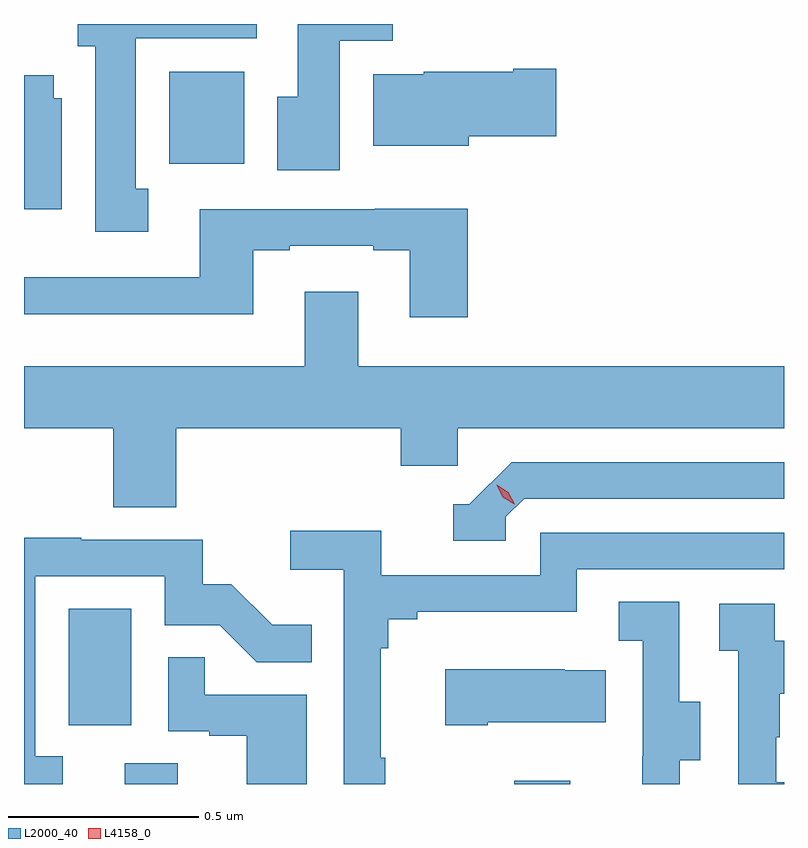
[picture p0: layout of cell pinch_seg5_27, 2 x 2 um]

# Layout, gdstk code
import gdstk
lib = gdstk.Library(unit=1e-6, precision=1e-09)
def R(c, l, rs):  # rectangles x0, y0, x1, y1
    for r in rs: c.add(gdstk.rectangle(r[:2], r[2:], *l))
def P(c, l, *ps):  # polygons
    for p in ps: c.add(gdstk.Polygon(p, *l))
L2000_40 = (2000, 40)
L4158_0 = (4158, 0)

pinch_seg5_27 = lib.new_cell('pinch_seg5_27')
R(pinch_seg5_27, L2000_40, [(1118.291,910.436,1118.431,910.49), (1119.316,910.436,1119.463,910.444), (1118.144,910.59,1118.308,910.897), (1118.408,912.068,1118.605,912.31)])
P(pinch_seg5_27, L2000_40, [(1118.857,912.392),(1118.996,912.392),(1118.996,912.436),(1118.747,912.436),(1118.747,912.244),(1118.693,912.244),(1118.693,912.051),(1118.857,912.051)],
  [(1118.353,912.002),(1118.32,912.002),(1118.32,912.398),(1118.638,912.398),(1118.638,912.436),(1118.168,912.436),(1118.168,912.378),(1118.213,912.378),(1118.213,911.889),(1118.353,911.889)],
  [(1119.196,912.14),(1119.427,912.14),(1119.427,912.318),(1119.314,912.318),(1119.314,912.31),(1119.078,912.31),(1119.078,912.304),(1118.945,912.304),(1118.945,912.116),(1119.196,912.116)],
  [(1118.125,912.24),(1118.104,912.24),(1118.104,912.301),(1118.026,912.301),(1118.026,911.948),(1118.125,911.948)],
  [(1119.194,911.95),(1118.949,911.95),(1118.949,911.949),(1118.489,911.949),(1118.489,911.769),(1118.026,911.769),(1118.026,911.672),(1118.629,911.672),(1118.629,911.841),(1118.725,911.841),(1118.725,911.853),(1118.945,911.853),(1118.945,911.841),(1119.041,911.841),(1119.041,911.664),(1119.194,911.664)],
  [(1118.905,911.731),(1118.765,911.731),(1118.765,911.536),(1118.026,911.536),(1118.026,911.372),(1118.261,911.372),(1118.261,911.164),(1118.426,911.164),(1118.426,911.372),(1119.017,911.372),(1119.017,911.274),(1119.168,911.274),(1119.168,911.372),(1120.026,911.372),(1120.026,911.536),(1118.905,911.536)],
  [(1119.294,911.139),(1119.342,911.187),(1120.026,911.187),(1120.026,911.283),(1119.309,911.283),(1119.198,911.172),(1119.155,911.172),(1119.155,911.076),(1119.294,911.076)],
  [(1118.977,910.505),(1118.965,910.505),(1118.965,910.793),(1118.984,910.793),(1118.984,910.87),(1119.061,910.87),(1119.061,910.889),(1119.48,910.889),(1119.48,911.001),(1120.026,911.001),(1120.026,911.097),(1119.384,911.097),(1119.384,910.986),(1118.966,910.986),(1118.966,911.102),(1118.727,911.102),(1118.727,911),(1118.868,911),(1118.868,910.436),(1118.977,910.436)],
  [(1118.128,910.509),(1118.055,910.509),(1118.055,910.983),(1118.397,910.983),(1118.397,910.854),(1118.541,910.854),(1118.639,910.756),(1118.783,910.756),(1118.783,910.855),(1118.679,910.855),(1118.572,910.962),(1118.496,910.962),(1118.496,911.079),(1118.177,911.079),(1118.177,911.084),(1118.026,911.084),(1118.026,910.436),(1118.128,910.436)],
  [(1119.751,910.498),(1119.805,910.498),(1119.805,910.653),(1119.75,910.653),(1119.75,910.916),(1119.591,910.916),(1119.591,910.813),(1119.654,910.813),(1119.654,910.509),(1119.653,910.509),(1119.653,910.436),(1119.751,910.436)],
  [(1120.026,910.44),(1120.005,910.44),(1120.005,910.559),(1120.015,910.559),(1120.015,910.673),(1120.026,910.673),(1120.026,910.813),(1120.002,910.813),(1120.002,910.911),(1119.855,910.911),(1119.855,910.787),(1119.906,910.787),(1119.906,910.436),(1120.026,910.436)],
  [(1118.77,910.671),(1118.501,910.671),(1118.501,910.769),(1118.406,910.769),(1118.406,910.575),(1118.513,910.575),(1118.513,910.563),(1118.612,910.563),(1118.612,910.436),(1118.77,910.436)],
  [(1119.247,910.598),(1119.557,910.598),(1119.557,910.735),(1119.449,910.735),(1119.449,910.738),(1119.135,910.738),(1119.135,910.591),(1119.247,910.591)])
P(pinch_seg5_27, L4158_0, [(1119.316,911.172),(1119.286,911.191),(1119.27,911.224),(1119.27,911.224),(1119.27,911.224),(1119.3,911.204),(1119.317,911.172),(1119.317,911.172)])

lib.write_gds('pinch_seg5_27.gds')
